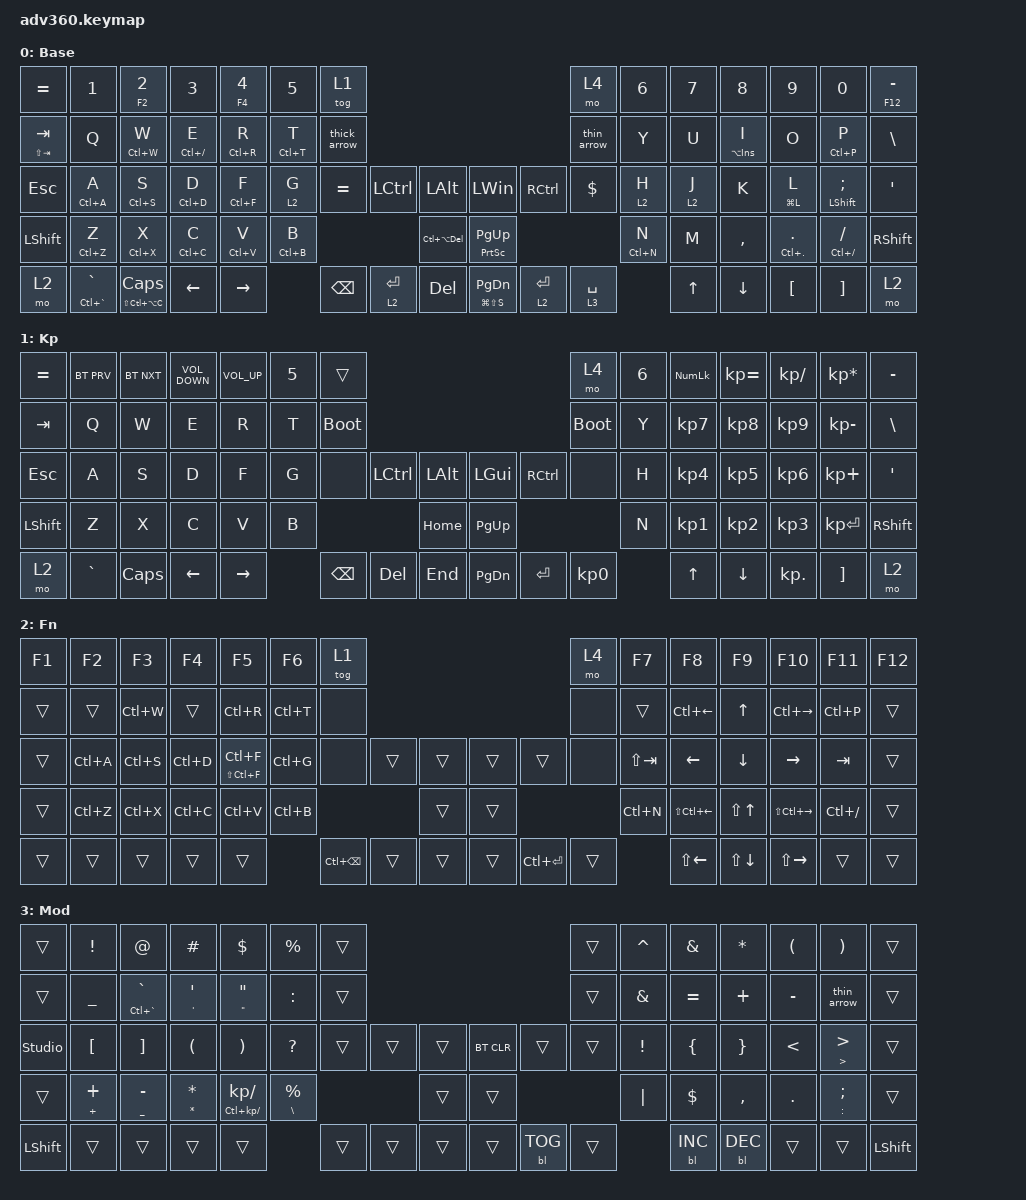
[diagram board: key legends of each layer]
#include <dt-bindings/zmk/stp.h>
#include <behaviors.dtsi>
#include <dt-bindings/zmk/backlight.h>
#include <dt-bindings/zmk/bt.h>
#include <dt-bindings/zmk/keys.h>

/ {
    behaviors {
        #include "macros.dtsi"
      #include "version.dtsi"

        hm: homerow_mods {
            compatible = "zmk,behavior-hold-tap";
            label = "HOMEROW_MODS";
            #binding-cells = <2>;
            tapping-term-ms = <250>;
            quick_tap_ms = <175>;
            flavor = "tap-preferred";
            bindings = <&kp>, <&kp>;
        };
    };

    macros {
        thin_arrow: thin_arrow {
            compatible = "zmk,behavior-macro";
            #binding-cells = <0>;
            bindings = <&kp MINUS &kp GT>;
            label = "THIN_ARROW";
        };

        thick_arrow: thick_arrow {
            compatible = "zmk,behavior-macro";
            #binding-cells = <0>;
            bindings = <&none &kp EQUAL &kp GT>;
            label = "THICK_ARROW";
        };

        gpoi: gpoi {
            compatible = "zmk,behavior-macro";
            #binding-cells = <0>;
            bindings = <&kp G &kp I &kp T &kp SPACE &kp P &kp U &kp L &kp L &kp SPACE &kp O &kp R &kp I &kp G &kp I &kp N &kp SPACE &kp I &kp N &kp T &kp E &kp G &kp R &kp A &kp T &kp I &kp O &kp N>;
            label = "GPOI";
        };
    };

    keymap {
        compatible = "zmk,keymap";

        default_layer {
            display-name = "Base";
            bindings = <
&kp EQUAL        &kp N1               &hm F2 N2               &kp N3           &hm F4 NUMBER_4  &kp N5       &tog 1                                                                                 &mo 4        &kp N6       &kp N7   &kp N8            &kp N9           &kp N0               &hm F12 MINUS
&hm LS(TAB) TAB  &kp Q                &hm LC(W) W             &hm LC(SLASH) E  &hm LC(R) R      &hm LC(T) T  &thick_arrow                                                                           &thin_arrow  &kp Y        &kp U    &hm LA(INSERT) I  &kp O            &hm LC(P) P          &kp BSLH
&kp ESC          &hm LC(A) A          &hm LC(S) S             &hm LC(D) D      &hm LC(F) F      &lt 2 G      &kp EQUAL      &kp LCTRL    &kp LALT             &kp LEFT_WIN             &kp RCTRL    &kp DOLLAR   &lt 2 H      &lt 2 J  &kp K             &hm LG(L) L      &hm LEFT_SHIFT SEMI  &kp SQT
&kp LSHFT        &hm LC(Z) Z          &hm LC(X) X             &hm LC(C) C      &hm LC(V) V      &hm LC(B) B                              &kp LC(LA(DEL))      &hm PRINTSCREEN PG_UP                              &hm LC(N) N  &kp M    &kp COMMA         &hm LC(DOT) DOT  &hm LC(FSLH) FSLH    &kp RSHFT
&mo 2            &hm LC(GRAVE) GRAVE  &hm LS(LC(LA(C))) CAPS  &kp LEFT         &kp RIGHT                     &kp BACKSPACE  &lt 2 ENTER  &kp DELETE           &hm LG(LS(S)) PAGE_DOWN  &lt 2 ENTER  &lt 3 SPACE               &kp UP   &kp DOWN          &kp LBKT         &kp RBKT             &mo 2
            >;
        };

        keypad {
            display-name = "Kp";
            bindings = <
&kp EQUAL  &bt BT_PRV  &bt BT_NXT  &kp K_VOLUME_DOWN  &kp K_VOLUME_UP  &kp N5  &trans                                                      &mo 4        &kp N6  &kp KP_NUM  &kp KP_EQUAL  &kp KP_DIVIDE  &kp KP_MULTIPLY  &kp MINUS
&kp TAB    &kp Q       &kp W       &kp E              &kp R            &kp T   &bootloader                                                 &bootloader  &kp Y   &kp KP_N7   &kp KP_N8     &kp KP_N9      &kp KP_MINUS     &kp BSLH
&kp ESC    &kp A       &kp S       &kp D              &kp F            &kp G   &none        &kp LCTRL  &kp LALT      &kp LGUI   &kp RCTRL  &none        &kp H   &kp KP_N4   &kp KP_N5     &kp KP_N6      &kp KP_PLUS      &kp SQT
&kp LSHFT  &kp Z       &kp X       &kp C              &kp V            &kp B                           &kp HOME      &kp PG_UP                          &kp N   &kp KP_N1   &kp KP_N2     &kp KP_N3      &kp KP_ENTER     &kp RSHFT
&mo 2      &kp GRAVE   &kp CAPS    &kp LEFT           &kp RIGHT                &kp BSPC     &kp DEL    &kp END       &kp PG_DN  &kp ENTER  &kp KP_N0            &kp UP      &kp DOWN      &kp KP_DOT     &kp RBKT         &mo 2
            >;
        };

        fn {
            display-name = "Fn";
            bindings = <
&kp F1  &kp F2     &kp F3     &kp F4     &kp F5               &kp F6     &tog 1                                                        &mo 4   &kp F7       &kp F8                  &kp F9              &kp F10                  &kp F11        &kp F12
&trans  &trans     &kp LC(W)  &trans     &kp LC(R)            &kp LC(T)  &none                                                         &none   &trans       &kp LC(LEFT_ARROW)      &kp UP_ARROW        &kp LC(RIGHT_ARROW)      &kp LC(P)      &trans
&trans  &kp LC(A)  &kp LC(S)  &kp LC(D)  &hm LS(LC(F)) LC(F)  &kp LC(G)  &none              &trans  &trans      &trans  &trans         &none   &kp LS(TAB)  &kp LEFT_ARROW          &kp DOWN_ARROW      &kp RIGHT                &kp TAB        &trans
&trans  &kp LC(Z)  &kp LC(X)  &kp LC(C)  &kp LC(V)            &kp LC(B)                             &trans      &trans                         &kp LC(N)    &kp LS(LC(LEFT_ARROW))  &kp LS(UP_ARROW)    &kp LS(LC(RIGHT_ARROW))  &kp LC(SLASH)  &trans
&trans  &trans     &trans     &trans     &trans                          &kp LC(BACKSPACE)  &trans  &trans      &trans  &kp LC(ENTER)  &trans               &kp LS(LEFT_ARROW)      &kp LS(DOWN_ARROW)  &kp LS(RIGHT_ARROW)      &trans         &trans
            >;
        };

        mod {
            display-name = "Mod";
            bindings = <
&trans          &kp EXCLAMATION   &kp AT_SIGN           &kp HASH                       &kp DOLLAR                       &kp PERCENT            &trans                                              &trans  &kp CARET        &kp AMPERSAND   &kp ASTERISK     &kp LEFT_PARENTHESIS  &kp RIGHT_PARENTHESIS          &trans
&trans          &kp UNDERSCORE    &hm LC(GRAVE) GRAVE   &hm SINGLE_QUOTE SINGLE_QUOTE  &hm DOUBLE_QUOTES DOUBLE_QUOTES  &kp COLON              &trans                                              &trans  &kp AMPERSAND    &kp EQUAL       &kp PLUS         &kp MINUS             &thin_arrow                    &trans
&studio_unlock  &kp LEFT_BRACKET  &kp RIGHT_BRACKET     &kp LEFT_PARENTHESIS           &kp RIGHT_PARENTHESIS            &kp QUESTION           &trans  &trans  &trans      &bt BT_CLR  &trans      &trans  &kp EXCLAMATION  &kp LEFT_BRACE  &kp RIGHT_BRACE  &kp LESS_THAN         &hm GREATER_THAN GREATER_THAN  &trans
&trans          &hm PLUS PLUS     &hm UNDERSCORE MINUS  &hm ASTERISK ASTERISK          &hm LC(KP_DIVIDE) KP_DIVIDE      &hm BACKSLASH PERCENT                  &trans      &trans                          &kp PIPE         &kp DOLLAR      &kp COMMA        &kp PERIOD            &hm COLON SEMI                 &trans
&kp LEFT_SHIFT  &trans            &trans                &trans                         &trans                                                  &trans  &trans  &trans      &trans      &bl BL_TOG  &trans                   &bl BL_INC      &bl BL_DEC       &trans                &trans                         &kp LEFT_SHIFT
            >;
        };

        extra1 {
            display-name = "Red";
            status = "reserved";
        };

        extra2 {
            display-name = "Purple";
            status = "reserved";
        };

        extra3 {
            display-name = "Cyan";
            status = "reserved";
        };

        extra4 {
            display-name = "Yellow";
            status = "reserved";
        };
    };
};
